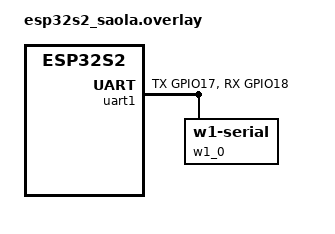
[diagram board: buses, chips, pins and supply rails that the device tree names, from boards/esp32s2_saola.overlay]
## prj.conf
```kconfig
CONFIG_SENSOR=y
CONFIG_W1=y

CONFIG_LOG=y
CONFIG_SENSOR_LOG_LEVEL_DBG=y
CONFIG_LOG_MODE_MINIMAL=y 
```

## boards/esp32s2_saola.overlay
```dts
/* Copyright Juri Pfammatter*/

/* Add 1-Wire to UART1 */
&uart1{
    status = "okay";
    pinctrl-0 = < &uart1_default >;
    pinctrl-names = "default";

    w1_0: w1-zephyr-serial-0 {
		compatible = "zephyr,w1-serial";
		status = "okay";

		ds18b20 {
			compatible = "maxim,ds18b20";
			family-code = <0x28>;
			resolution = <10>;
			status = "okay";
		};
	};
};

/* configure pins of UART1 */
&pinctrl{
    uart1_default: uart1_default{
        group1 {
				pinmux = < UART1_TX_GPIO17 >;       
				output-high;
			};
			group2 {
				pinmux = < UART1_RX_GPIO18 >;      
				bias-pull-up;
			};
    };
};
```

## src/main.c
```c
/*
 * Copyright (c) 2022 Thomas Stranger
 *
 * SPDX-License-Identifier: Apache-2.0
 */

#include <zephyr/kernel.h>
#include <zephyr/device.h>
#include <zephyr/devicetree.h>
#include <zephyr/drivers/sensor.h>
/*
 * Get a device structure from a devicetree node with compatible
 * "maxim,ds18b20". (If there are multiple, just pick one.)
 */

static const struct device *get_ds18b20_device(void)
{
	const struct device *const dev = DEVICE_DT_GET_ANY(maxim_ds18b20);

	if (dev == NULL) {
		/* No such node, or the node does not have status "okay". */
		printk("\nError: no device found.\n");
		return NULL;
	}

	if (!device_is_ready(dev)) {
		printk("\nError: Device \"%s\" is not ready; "
		       "check the driver initialization logs for errors.\n",
		       dev->name);
		return NULL;
	}

	printk("Found device \"%s\", getting sensor data\n", dev->name);
	return dev;
}

int main(void)
{
	/* setup ds18b20*/
	const struct device *dev = get_ds18b20_device();

	if (dev == NULL) {
		return 0;
	}
	
	while (1) {
		
		struct sensor_value temp;	
		sensor_sample_fetch(dev);
		sensor_channel_get(dev, SENSOR_CHAN_AMBIENT_TEMP, &temp);

		printk("Temp: %d.%06d\n", temp.val1, temp.val2);
		k_sleep(K_MSEC(2000));
	}
	return 0;
}
```
